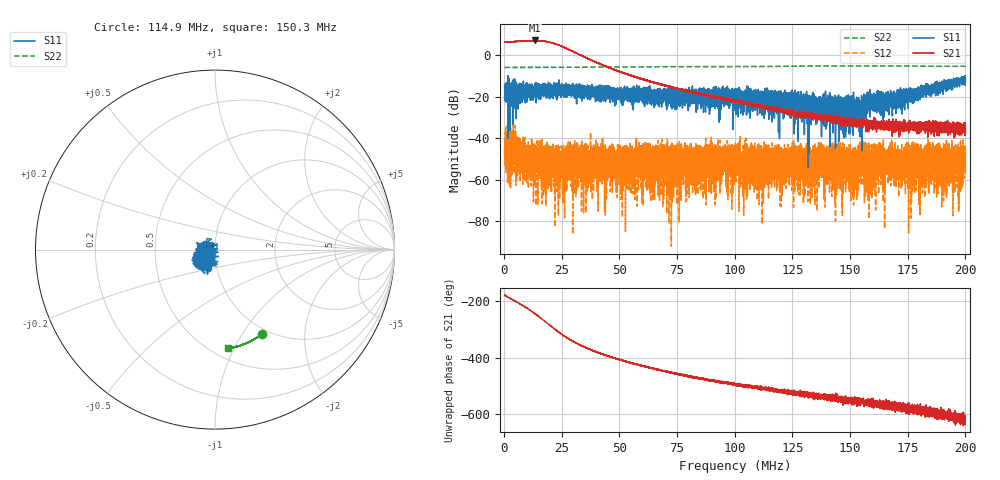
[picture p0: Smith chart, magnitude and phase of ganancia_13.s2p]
# Hz S DB R 50
! CMT, M5065, 19127446, 24.2.4/2
! Date: 11/8/2024 3:52:50 PM
! Data: Format (Calibration Info)
! Freq	S11:dB/Ang(F2)	S21:dB/Ang(F2)	S12:dB/Ang(F2)	S22:dB/Ang(F2)
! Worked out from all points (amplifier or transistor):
!   9000 points, 300 kHz to 200 MHz, reference 50 ohm
!   highest |S21| = 7.2 dB at 13.61 MHz (marker M1)
!   |S21| within 3 dB of that: start of sweep to 25.31 MHz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
!   unconditionally stable (mu >= 1): start of sweep to end of sweep
!   at 33.59 MHz: K = 98.93, MAG = 1.3 dB, |S12| = -48.7 dB
!   at 100.2 MHz: K = 1814.54, MAG = -21.0 dB, |S12| = -51.7 dB
!   at 200 MHz: K = 15144.31, MAG = -33.5 dB, |S12| = -57.9 dB
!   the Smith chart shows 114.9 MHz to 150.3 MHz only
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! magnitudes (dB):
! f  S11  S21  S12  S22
! 300 kHz  -14.1  6.4  -45.4  -5.8
! 2.586 MHz  -19.1  6.6  -52.1  -5.8
! 4.073 MHz  -17.9  6.6  -42.5  -5.8
! 7.801 MHz  -14.9  6.8  -54.2  -5.8
! 13.61 MHz  -13.7  7.2  -45.8  -5.8
! 33.59 MHz  -15.9  -0.1  -48.7  -5.7
! 66.87 MHz  -19.2  -13.6  -51.0  -5.5
! 100.2 MHz  -20.0  -22.5  -51.7  -5.4
! 133.4 MHz  -22.4  -29.7  -47.3  -5.2
! 141 MHz  -20.9  -30.0  -51.1  -5.1
! 143.3 MHz  -27.7  -30.8  -52.6  -5.1
! 145.1 MHz  -41.6  -31.6  -47.2  -5.1
! 152.3 MHz  -22.3  -31.7  -50.7  -5.1
! 154.7 MHz  -22.1  -31.5  -52.2  -5.1
! 157.1 MHz  -26.1  -32.7  -54.1  -5.1
! 166.7 MHz  -24.1  -36.4  -53.8  -5.2
! 174.1 MHz  -19.3  -34.2  -47.2  -5.2
! 177.4 MHz  -19.0  -33.0  -57.2  -5.2
! 195.9 MHz  -13.1  -33.1  -48.4  -5.3
! 197.9 MHz  -13.2  -36.7  -46.4  -5.3
! 198.8 MHz  -13.9  -36.6  -54.2  -5.3
! 200 MHz  -12.0  -35.3  -57.9  -5.3
